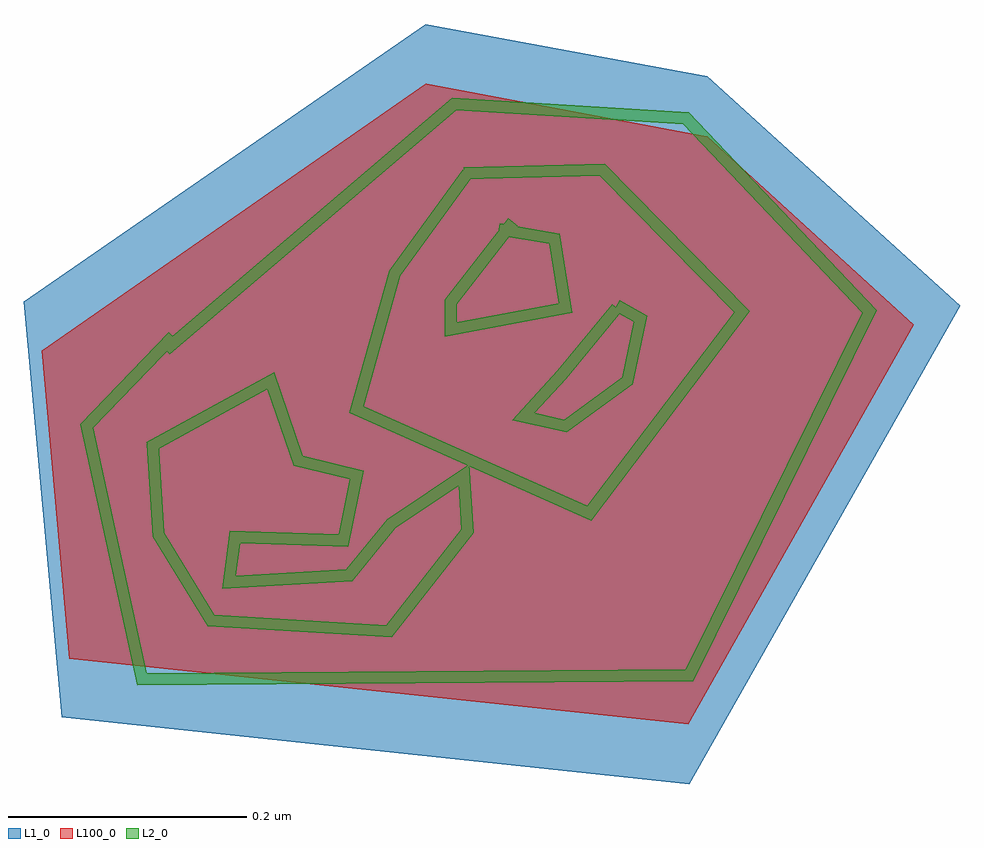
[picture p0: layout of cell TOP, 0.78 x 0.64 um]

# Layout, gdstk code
import gdstk
lib = gdstk.Library(unit=1e-6, precision=1e-09)
def P(c, l, *ps):  # polygons
    for p in ps: c.add(gdstk.Polygon(p, *l))
L1_0 = (1, 0)
L2_0 = (2, 0)
L100_0 = (100, 0)

top = lib.new_cell('TOP')
P(top, L1_0, [(0.444,0.934),(-0.082,0.99),(-0.114,1.338),(0.223,1.571),(0.459,1.527),(0.671,1.335)])
P(top, L100_0, [(0.443,0.984),(-0.076,1.039),(-0.099,1.297),(0.223,1.521),(0.224,1.521),(0.458,1.477),(0.459,1.477),(0.632,1.319)])
top.add(gdstk.FlexPath([(0.005,1.298),(0.247,1.504),(0.441,1.492),(0.595,1.33),(0.444,1.025),(-0.015,1.022),(-0.061,1.234),(0.011,1.309)], 0.01, ends="flush", simple_path=True, layer=2, datatype=0))  # L2_0
top.add(gdstk.FlexPath([(0.383,1.335),(0.403,1.324),(0.392,1.272),(0.34,1.234),(0.305,1.242),(0.337,1.277),(0.383,1.333)], 0.01, ends="flush", simple_path=True, layer=2, datatype=0))  # L2_0
top.add(gdstk.FlexPath([(0.255,1.446),(0.371,1.449),(0.488,1.33),(0.36,1.161),(0.165,1.248),(0.197,1.362),(0.258,1.446)], 0.01, ends="flush", simple_path=True, layer=2, datatype=0))  # L2_0
top.add(gdstk.FlexPath([(0.284,1.399),(0.331,1.391),(0.34,1.333),(0.244,1.315),(0.244,1.338),(0.296,1.405)], 0.01, ends="flush", simple_path=True, layer=2, datatype=0))  # L2_0
top.add(gdstk.FlexPath([(-0.009,1.216),(0.093,1.272),(0.116,1.205),(0.165,1.193),(0.154,1.138),(0.063,1.141),(0.058,1.103),(0.159,1.109),(0.194,1.152),(0.255,1.193),(0.258,1.146),(0.192,1.062),(0.043,1.071),(-0.001,1.143),(-0.006,1.219)], 0.01, ends="flush", simple_path=True, layer=2, datatype=0))  # L2_0

lib.write_gds('TOP.gds')
